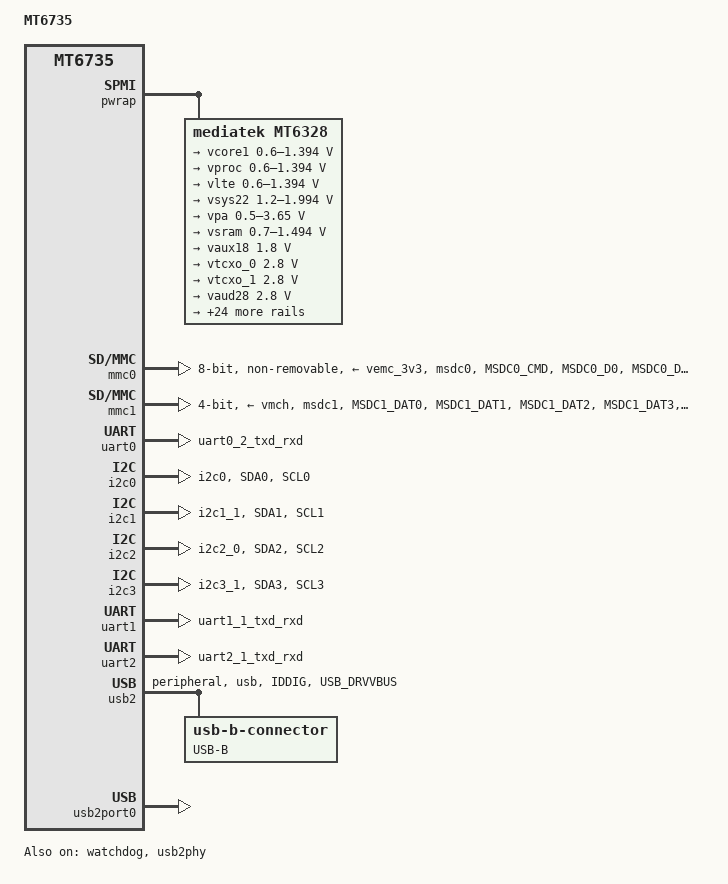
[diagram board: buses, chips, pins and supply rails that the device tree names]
/*
 * Copyright (C) 2018 MediaTek Inc.
 * Author: Ryder Lee <ryder.lee@mediatek.com>
 *
 * SPDX-License-Identifier: (GPL-2.0 OR MIT)
 */

/dts-v1/;
#include "mt6735.dtsi"
#include "mt6735-u-boot.dtsi"

/ {
    #address-cells = <1>;
    #size-cells = <1>;
	model = "MT6735";
	compatible = "mediatek,test", "mediatek,mt6735";

	chosen {
		stdout-path = &uart0;
		};
        
    aliases {
        mmc1 = "/mmc@11230000";
        mmc0 = "/mmc@11240000";
    };
    
    reserved-memory {
        #address-cells = <1>;
        #size-cells = <1>;
        ranges;

       /* 128 KiB reserved for ARM Trusted Firmware (BL31) */
        secmon_reserved: secmon@43000000 {
            reg = <0x43000000 0x20000>;
            no-map;
        };
    };
};

&pwrap {
    status = "okay";

    mt6328: pmic {
		compatible = "mediatek,mt6328";
		interrupt-controller;
//      interrupt-parent = <&pio>;
		interrupts = <GIC_SPI 163 IRQ_TYPE_LEVEL_HIGH>;
		#interrupt-cells = <2>;

		regulators {
        
			vcore1: buck_vcore1 {
						regulator-name = "buck_vcore1";
						regulator-always-on;
						regulator-min-microvolt = <600000>;
						regulator-max-microvolt = <1393750>;
                        bootph-all;
                };
                
			vproc: buck_vproc {
						regulator-name = "buck_vproc";
						regulator-always-on;
						regulator-min-microvolt = <600000>;
						regulator-max-microvolt = <1393750>;
                        bootph-all;
                };
                
			vlte: buck_vlte {
						regulator-name = "buck_vlte";
						regulator-always-on;
						regulator-min-microvolt = <600000>;
						regulator-max-microvolt = <1393750>;
                        bootph-all;
                };
                
			vsys22: buck_vsys22 {
						regulator-name = "buck_vsys22";
						regulator-min-microvolt = <1200000>;
						regulator-max-microvolt = <1993750>;
						regulator-ramp-delay = <6250>;
						regulator-enable-ramp-delay = <180>;
						regulator-always-on;
						regulator-boot-on;
                        bootph-all;
				};
                
			vpa: buck_vpa {
						regulator-name = "buck_vpa";
						regulator-min-microvolt = <500000>;
						regulator-max-microvolt = <3650000>;
						regulator-ramp-delay = <50000>;
						regulator-enable-ramp-delay = <180>;
                        bootph-all;
				};
                
			vsram: buck_vsram {
						regulator-name = "buck_vsram";
						regulator-min-microvolt = <700000>;
						regulator-max-microvolt = <1493750>;
						regulator-enable-ramp-delay = <220>;
						regulator-ramp-delay = <6250>;
						regulator-boot-on;
                        bootph-all;
				};
                
			vaux18: fixed_ldo_vaux18 {
						regulator-name = "fixed_ldo_vaux18";
						regulator-min-microvolt = <1800000>;
						regulator-max-microvolt = <1800000>;
						regulator-enable-ramp-delay = <264>;
						regulator-boot-on;
                        bootph-all;
				};

			vtcxo_0: fixed_ldo_vtcxo_0 {
						regulator-name = "fixed_ldo_vtcxo_0";
						regulator-min-microvolt = <2800000>;
						regulator-max-microvolt = <2800000>;
						regulator-enable-ramp-delay = <110>;
						regulator-boot-on;
                        bootph-all;
				};
                
			vtcxo_1: fixed_ldo_vtcxo_1 {
						regulator-name = "fixed_ldo_vtcxo_1";
						regulator-min-microvolt = <2800000>;
						regulator-max-microvolt = <2800000>;
						regulator-enable-ramp-delay = <110>;
                        bootph-all;
				};
                
			vaud28: fixed_ldo_vaud28 {
						regulator-name = "fixed_ldo_vaud28";
						regulator-min-microvolt = <2800000>;
						regulator-max-microvolt = <2800000>;
						regulator-enable-ramp-delay = <264>;
						regulator-boot-on;
                        bootph-all;
				};
                
			vcn28: fixed_ldo_vcn28 {
						regulator-name = "fixed_ldo_vcn28";
						regulator-min-microvolt = <2800000>;
						regulator-max-microvolt = <2800000>;
						regulator-enable-ramp-delay = <264>;
                        bootph-all;
				};
                
			vcama: ldo_vcama {
						regulator-name = "ldo_vcama";
						regulator-min-microvolt = <1500000>;
						regulator-max-microvolt = <2800000>;
						regulator-enable-ramp-delay = <264>;
                        bootph-all;
				};
                
			vcn33_bt: ldo_vcn33_bt {
						regulator-name = "ldo_vcn33_bt";
						regulator-min-microvolt = <3300000>;
						regulator-max-microvolt = <3600000>;
						regulator-enable-ramp-delay = <264>;
                        bootph-all;
				};
                
			vcn33_wifi: ldo_vcn33_wifi {
						regulator-name = "ldo_vcn33_wifi";
						regulator-min-microvolt = <3300000>;
						regulator-max-microvolt = <3600000>;
						regulator-enable-ramp-delay = <264>;
                        bootph-all;
				};
                
			vusb33: fixed_ldo_vusb33 {
						regulator-name = "fixed_ldo_vusb33";
						regulator-min-microvolt = <3300000>;
						regulator-max-microvolt = <3300000>;
						regulator-enable-ramp-delay = <264>;
						regulator-boot-on;
                        bootph-all;
				};
                
			vefuse: ldo_vefuse {
						regulator-name = "ldo_vefuse";
						regulator-min-microvolt = <1800000>;
						regulator-max-microvolt = <2200000>;
						regulator-enable-ramp-delay = <264>;
                        bootph-all;
				};
                
			sim1: ldo_vsim1 {
						regulator-name = "ldo_vsim1";
						regulator-min-microvolt = <1700000>;
						regulator-max-microvolt = <2100000>;
						regulator-enable-ramp-delay = <264>;
                        bootph-all;
				};
                
			sim2: ldo_vsim2 {
						regulator-name = "ldo_vsim2";
						regulator-min-microvolt = <1700000>;
						regulator-max-microvolt = <2100000>;
						regulator-enable-ramp-delay = <264>;
                        bootph-all;
				};
                
			vemc_3v3: ldo_vemc3v3 {
						regulator-name = "ldo_vemc3v3";
						regulator-min-microvolt = <1800000>;
						regulator-max-microvolt = <3300000>;
						regulator-enable-ramp-delay = <264>;
						regulator-boot-on;
                        bootph-all;
				};
                
			vmch: ldo_vmch {
						regulator-name = "ldo_vmch";
						regulator-min-microvolt = <2900000>;
						regulator-max-microvolt = <3300000>;
						regulator-enable-ramp-delay = <44>;
                        bootph-all;
				};
                
			vtref: fixed_ldo_vtref {
						regulator-name = "fixed_ldo_vtref";
						regulator-min-microvolt = <1800000>;
						regulator-max-microvolt = <1800000>;
						regulator-enable-ramp-delay = <240>;
                        bootph-all;
				};
                
			vmc: ldo_vmc {
						regulator-name = "ldo_vmc";
						regulator-min-microvolt = <1800000>;
						regulator-max-microvolt = <3300000>;
						regulator-enable-ramp-delay = <44>;
                        bootph-all;
				};
                
			vcamaf: ldo_vcamaf {
						regulator-name = "ldo_vcamaf";
						regulator-min-microvolt = <1200000>;
						regulator-max-microvolt = <3300000>;
						regulator-enable-ramp-delay = <264>;
                        bootph-all;
				};
                
			vio28: fixed_ldo_vio28 {
						regulator-name = "fixed_ldo_vio28";
						regulator-min-microvolt = <2800000>;
						regulator-max-microvolt = <2800000>;
						regulator-enable-ramp-delay = <264>;
						regulator-boot-on;
                        bootph-all;
                };

			vrtc: fixed_ldo_vrtc {
						regulator-name = "fixed_ldo_vrtc";
						regulator-min-microvolt = <2800000>;
						regulator-max-microvolt = <2800000>;
						regulator-enable-ramp-delay = <264>;
						regulator-boot-on;
                        bootph-all;
                };
                
			vgp1: ldo_vgp1 {
						regulator-name = "ldo_vgp1";
						regulator-min-microvolt = <1200000>;
						regulator-max-microvolt = <3300000>;
						regulator-enable-ramp-delay = <264>;
                        bootph-all;
				};
                
			vibr: ldo_vibr {
						regulator-name = "ldo_vibr";
						regulator-min-microvolt = <1200000>;
						regulator-max-microvolt = <3300000>;
						regulator-enable-ramp-delay = <44>;
                        bootph-all;
				};
                
			vcamd: ldo_vcamd {
						regulator-name = "ldo_vcamd";
						regulator-min-microvolt = <900000>;
						regulator-max-microvolt = <1500000>;
						regulator-enable-ramp-delay = <264>;
                        bootph-all;
				};
                
			vrf18_0: fixed_ldo_vrf18_0 {
						regulator-name = "fixed_ldo_vrf18_0";
						regulator-min-microvolt = <1825000>;
						regulator-max-microvolt = <1825000>;
						regulator-enable-ramp-delay = <220>;
                        bootph-all;
				};
                
			vrf18_1: fixed_ldo_vrf18_1 {
						regulator-name = "fixed_ldo_vrf18_1";
						regulator-min-microvolt = <1200000>;
						regulator-max-microvolt = <1825000>;
						regulator-enable-ramp-delay = <220>;
                        bootph-all;
				};
                
			vio18: fixed_ldo_vio18 {
						regulator-name = "fixed_ldo_vio18";
						regulator-min-microvolt = <1800000>;
						regulator-max-microvolt = <1800000>;
						regulator-enable-ramp-delay = <264>;
						regulator-boot-on;
                        bootph-all;
				};
                
			vcn18: fixed_ldo_vcn18 {
						regulator-name = "fixed_ldo_vcn18";
						regulator-min-microvolt = <1800000>;
						regulator-max-microvolt = <1800000>;
						regulator-enable-ramp-delay = <44>;
                        bootph-all;
				};
                
			vcamio: ldo_vcamio {
						regulator-name = "ldo_vcamio";
						regulator-min-microvolt = <1200000>;
						regulator-max-microvolt = <1800000>;
						regulator-enable-ramp-delay = <220>;
                        bootph-all;
				};
                
			vm: ldo_vm {
						regulator-name = "ldo_vm";
						regulator-min-microvolt = <1240000>;
						regulator-max-microvolt = <1540000>;
						regulator-enable-ramp-delay = <264>;
						regulator-boot-on;
                        bootph-all;
                };
            };
            
		devices {
        
            keys: mt6328_keys {
				compatible = "mediatek,mt6328_keys";
				#gpio-cells = <2>;
				gpio-controller;
                bootph-all;
            };
        };
    };
};

&dramc {
    emi_cona = <0x2a052>;       /* 0x10203000 */
    drvctrl0 = <0xaa00aa00>;    /* 0x102140b8 */
    drvctrl1 = <0xaa00aa00>;    /* 0x102140bc */
    actim = <0x559a45d6>;       /* 0x10214000 */
    gddr3ctl = <0x1000000>;     /* 0x102140f4 */
    conf1 = <0xf0048683>;       /* 0x10214004 */
    ddr2ctl = <0xc00641d1>;     /* 0x1021407c */
    test2_1 = <0x55000000>;     /* 0x1020e03c */
    test2_2 = <0x3ff>;          /* 0x1020e040 */
    test2_3 = <0xbf0b0401>;     /* 0x10214044 */
    conf2 = <0x180ae50>;        /* 0x10214008 */
    pd_ctrl = <0xd1644742>;     /* 0x102141dc */
    padctl3 = <0x10>;           /* 0x10213014 */
    padctl4 = <0x11>;           /* 0x102140e4 */
    actim1 = <0x11001330>;      /* 0x102141e8 */
    misctl0 = <0x17800000>;     /* 0x102140fc */
    actim05t = <0x1420>;        /* 0x102141f8 */
    modereg1 = <0xc30001>;      /* 0x10214088 */
    modereg2 = <0x80002>;       /* 0x10214088 */
    modereg3 = <0x20003>;       /* 0x10214088 */
    modereg5 = <0x1>;           /* 0x10214088 */
    modereg10 = <0xff000a>;     /* 0x10214088 */
    modereg63 = <0x3f>;         /* 0x10214088 */
    dqsctl1 = <0x1c004004>;     /* 0x102140e0 */
    dqsgctl = <0xaa0800aa>;     /* 0x10213140 */
    dqidly1 = <0x80c0b09>;      /* 0x10214210 */
    dqidly2 = <0xe0f0b0e>;      /* 0x10214214 */
    dqidly3 = <0x3030405>;      /* 0x10214218 */
    dqidly4 = <0x7090506>;      /* 0x1021421c */
    dqidly5 = <0xb0c0b09>;      /* 0x10214220 */
    dqidly6 = <0xf0f0d0f>;      /* 0x10214224 */
    dqidly7 = <0x6060606>;      /* 0x10214228 */
    dqidly8 = <0x809080a>;      /* 0x1021422c */
    dqodly1 = <0x1110000>;      /* 0x10213200 */
    dqodly2 = <0x11110000>;     /* 0x10213204 */
    dqodly3 = <0x0>;            /* 0x10213208 */
    dqodly4 = <0x0>;            /* 0x1021320c */
    r0deldly = <0x1c1b1d1b>;    /* 0x10214018 */
    r1deldly = <0x1d1c1c1c>;    /* 0x1021401c */
    r0dqsien = <0xc8484848>;    /* 0x10214094 */
    r1dqsien = <0x48484848>;    /* 0x10214098 */
    spcmd = <0x100>;            /* 0x102141e4 */
};

&mmc0 {
	pinctrl-names = "default";
	pinctrl-0 = <&mmc0_pins_default>;
	bus-width = <8>;
	cap-mmc-highspeed;
	mmc-hs400-1_8v;
	cap-mmc-hw-reset;
	max-frequency = <200000000>;
	vmmc-supply = <&vemc_3v3>;
	vqmmc-supply = <&vio18>;
	non-removable;
	status = "okay";
};

&mmc1 {
	pinctrl-names = "default";
	pinctrl-0 = <&mmc1_pins_default>;
	status = "okay";
	bus-width = <4>;
	max-frequency = <200000000>;
	cap-sd-highspeed;
	sd-uhs-sdr104;
	vmmc-supply = <&vmch>;
	vqmmc-supply = <&vmc>;
};

&pinctrl {

    gpio: gpio-controller {
            gpio-controller;
            #gpio-cells = <2>;
            bootph-all;
        };
        
	mmc0_pins_default: mmc0default {
		mux {
			function = "msdc";
			groups =  "msdc0";
            bootph-all;
		};

		conf-cmd-data {
			pins = "MSDC0_CMD", "MSDC0_D0", "MSDC0_D1",
			       "MSDC0_D2", "MSDC0_D3", "MSDC0_D4",
			       "MSDC0_D5", "MSDC0_D6", "MSDC0_D7";
			input-enable;
            drive-strength = <2>;
			bias-pull-up;
            bootph-all;
		};

		conf-clk {
			pins = "MSDC0_CLK";
			bias-pull-down;
            drive-strength = <2>;
            bootph-all;
		};

		conf-ds {
			pins = "MSDC0_DSL";
			bias-pull-down;
            drive-strength = <2>;
            bootph-all;
		};

		conf-rst {
			pins = "MSDC0_RSTB";
			bias-pull-up;
            drive-strength = <2>;
            bootph-all;
		};
	};

	mmc1_pins_default: mmc1default {
		mux {
			function = "msdc";
			groups =  "msdc1";
            bootph-all;
		};

		conf-cmd-data {
			pins = "MSDC1_DAT0", "MSDC1_DAT1", "MSDC1_DAT2",
			       "MSDC1_DAT3", "MSDC1_CMD";
			input-enable;
            drive-strength = <2>;
			bias-pull-up;
            bootph-all;
		};

		conf-clk {
			pins = "MSDC1_CLK";
			bias-pull-down;
            drive-strength = <2>;
            bootph-all;
		};

	};

	uart0_pins_a: uart0-default {
		mux {
			function = "uart";
			groups =  "uart0_2_txd_rxd";
		};
	};

	uart1_pins_a: uart1-default {
		mux {
			function = "uart";
			groups =  "uart1_1_txd_rxd";
		};
	};

	uart2_pins_a: uart2-default {
		mux {
			function = "uart";
			groups =  "uart2_1_txd_rxd";
		};
	};

	uart3_pins_a: uart3-default {
		mux {
			function = "uart";
			groups =  "uart3_1_txd_rxd";
		};
	};

	usb_pins_a: usb-default {
		mux {
			function = "usb";
			groups = "usb";
		};

		conf-host {
			pins = "IDDIG", "USB_DRVVBUS";
			input-enable;
			bias-pull-up;
		};
	};

	usb_pins_b: usb-otg {
		mux {
			function = "usb";
			groups = "usb";
		};

		conf-otg {
			pins = "IDDIG", "USB_DRVVBUS";
			input-enable;
			bias-pull-down;
		};
	};
    
    i2c0_default: i2c0-default-pins {
        mux {
            function = "i2c";
            groups = "i2c0";
        };
        
        pins-sda-scl {
            pins = "SDA0", "SCL0";
        };
    };

    i2c1_default: i2c1-default-pins {
        mux {
            function = "i2c";
            groups = "i2c1_1";
        };
        
        pins-sda-scl {
            pins = "SDA1", "SCL1";
        };
    };

    i2c2_default: i2c2-default-pins {
        mux {
            function = "i2c";
            groups = "i2c2_0";
        };
        
        pins-sda-scl {
            pins = "SDA2", "SCL2";
        };
    };

    i2c3_default: i2c3-default-pins {
        mux {
            function = "i2c";
            groups = "i2c3_1";
        };
        
        pins-sda-scl {
            pins = "SDA3", "SCL3";
        };
    };

};

&uart0 {
	pinctrl-names = "default";
	pinctrl-0 = <&uart0_pins_a>;
	status = "okay";
};

&i2c0 {
    pinctrl-names = "default";
    pinctrl-0 = <&i2c0_default>;
    status = "okay";
};

&i2c1 {
    pinctrl-names = "default";
    pinctrl-0 = <&i2c1_default>;
    status = "okay";
};

&i2c2 {
    pinctrl-names = "default";
    pinctrl-0 = <&i2c2_default>;
    status = "okay";
};

&i2c3 {
    pinctrl-names = "default";
    pinctrl-0 = <&i2c3_default>;
    status = "okay";
};

&uart1 {
	pinctrl-names = "default";
	pinctrl-0 = <&uart1_pins_a>;
	status = "okay";
};

&uart2 {
	pinctrl-names = "default";
	pinctrl-0 = <&uart2_pins_a>;
	status = "okay";
};

&watchdog {
	status = "okay";
};

&usb2 {
	status = "okay";
	vusb33-supply = <&vusb33>;
	vcore-supply = <&vcore1>;
	pinctrl-names = "peripheral", "host";
	pinctrl-0 = <&usb_pins_b>;
	pinctrl-1 = <&usb_pins_a>;
	dr_mode = "peripheral";

	usb_con_b: connector {
		compatible = "usb-b-connector";
		label = "USB-B";
	};
};

&usb2phy {
	status = "okay";
	vusb33-supply = <&vusb33>;
};

&usb2port0 {
	status = "okay";
 	vcc-supply = <&vusb33>;
};

